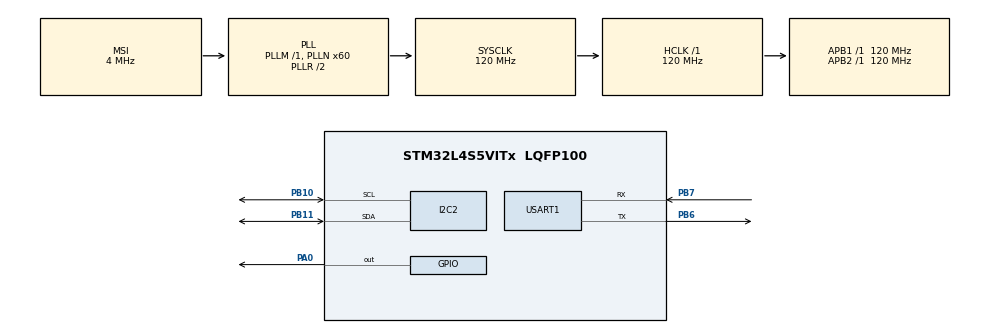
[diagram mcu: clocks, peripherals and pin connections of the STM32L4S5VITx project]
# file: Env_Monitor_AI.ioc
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I2C2.Timing=0x30A175AB
Mcu.Family=STM32L4
Mcu.Name=STM32L4S5VITx
Mcu.Package=LQFP100
NVIC.PriorityGroup=NVIC_PRIORITYGROUP_4
PA0.Signal=GPIO_Output
PB10.Mode=I2C
PB10.Signal=I2C2_SCL
PB11.Mode=I2C
PB11.Signal=I2C2_SDA
PB6.Mode=Asynchronous
PB6.Signal=USART1_TX
PB7.Mode=Asynchronous
PB7.Signal=USART1_RX
ProjectManager.HeapSize=0x200
ProjectManager.StackSize=0x400
ProjectManager.TargetToolchain=STM32CubeIDE
RCC.ADCFreq_Value=48000000
RCC.AHBFreq_Value=120000000
RCC.APB1Freq_Value=120000000
RCC.APB1TimFreq_Value=120000000
RCC.APB2Freq_Value=120000000
RCC.APB2TimFreq_Value=120000000
RCC.CortexFreq_Value=120000000
RCC.HCLKFreq_Value=120000000
RCC.HSE_VALUE=8000000
RCC.HSI48_VALUE=48000000
RCC.HSI_VALUE=16000000
RCC.LSE_VALUE=32768
RCC.MSI_VALUE=4000000
RCC.PLLN=60
RCC.PLLSAI1N=24
RCC.SYSCLKFreq_VALUE=120000000
RCC.SYSCLKSource=RCC_SYSCLKSOURCE_PLLCLK
RCC.USBFreq_Value=48000000
RCC.VCOOutputFreq_Value=240000000
USART1.VirtualMode-Asynchronous=VM_ASYNC
board=B-L4S5I-IOT01A

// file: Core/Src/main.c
/* USER CODE BEGIN Header */
/**
  ******************************************************************************
  * HTS221 + NanoEdge AI + 3-Pin Buzzer Module on PA0
  ******************************************************************************
  */
/* USER CODE END Header */

#include "main.h"

/* USER CODE BEGIN Includes */
#include "NanoEdgeAI.h"
#include <stdio.h>
#include <string.h>
#include <stdlib.h>
#include <stdbool.h>
/* USER CODE END Includes */

/* USER CODE BEGIN PD */
#define HTS221_ADDR            (0x5F << 1)
#define HTS221_WHO_AM_I        0x0F
#define HTS221_AV_CONF         0x10
#define HTS221_CTRL_REG1       0x20
#define HTS221_HUMIDITY_OUT_L  0x28
#define HTS221_TEMP_OUT_L      0x2A

#define LEARNING_ITERATIONS    24

#define BUZZER_PORT            GPIOA
#define BUZZER_PIN             GPIO_PIN_0
/* USER CODE END PD */

I2C_HandleTypeDef hi2c2;
UART_HandleTypeDef huart1;

void SystemClock_Config(void);
static void MX_GPIO_Init(void);
static void MX_USART1_UART_Init(void);
static void MX_I2C2_Init(void);

/* USER CODE BEGIN 0 */

static uint8_t HTS221_Read8(uint8_t reg)
{
  uint8_t val = 0;
  HAL_I2C_Mem_Read(&hi2c2, HTS221_ADDR, reg, I2C_MEMADD_SIZE_8BIT, &val, 1, 100);
  return val;
}

static int16_t HTS221_Read16(uint8_t reg_l)
{
  uint8_t data[2] = {0};
  HAL_I2C_Mem_Read(&hi2c2, HTS221_ADDR, reg_l | 0x80, I2C_MEMADD_SIZE_8BIT, data, 2, 100);
  return (int16_t)((data[1] << 8) | data[0]);
}

static void UART_Print(char *msg)
{
  HAL_UART_Transmit(&huart1, (uint8_t*)msg, strlen(msg), 100);
}

/* -------- 3-pin buzzer control --------
   For most 3-pin buzzer modules:
   HIGH  = buzzer ON
   LOW   = buzzer OFF
*/
static void Buzzer_On(void)
{
  HAL_GPIO_WritePin(BUZZER_PORT, BUZZER_PIN, GPIO_PIN_SET);
}

static void Buzzer_Off(void)
{
  HAL_GPIO_WritePin(BUZZER_PORT, BUZZER_PIN, GPIO_PIN_RESET);
}

/* Simple beep for 3-pin active buzzer module */
static void Buzzer_Beep(uint16_t on_ms, uint16_t off_ms, uint8_t repeat)
{
  for (uint8_t i = 0; i < repeat; i++)
  {
    Buzzer_On();
    HAL_Delay(on_ms);
    Buzzer_Off();
    HAL_Delay(off_ms);
  }
}

/* USER CODE END 0 */

int main(void)
{
  HAL_Init();
  SystemClock_Config();

  MX_GPIO_Init();
  MX_USART1_UART_Init();
  MX_I2C2_Init();

  char buffer[220];

  /* ---------- Startup message ---------- */
  sprintf(buffer, "System Booting...\r\n");
  UART_Print(buffer);

  /* Startup buzzer test */
  Buzzer_Beep(200, 150, 2);

  /* ---------- HTS221 setup ---------- */
  uint8_t who = HTS221_Read8(HTS221_WHO_AM_I);
  sprintf(buffer, "HTS221 WHO_AM_I: 0x%02X\r\n", who);
  UART_Print(buffer);

  uint8_t av_conf = 0x1B;
  HAL_I2C_Mem_Write(&hi2c2, HTS221_ADDR, HTS221_AV_CONF, I2C_MEMADD_SIZE_8BIT, &av_conf, 1, 100);

  uint8_t ctrl_reg1 = 0x85; /* PD=1, BDU=1, ODR=1Hz */
  HAL_I2C_Mem_Write(&hi2c2, HTS221_ADDR, HTS221_CTRL_REG1, I2C_MEMADD_SIZE_8BIT, &ctrl_reg1, 1, 100);

  HAL_Delay(100);

  /* ---------- Read HTS221 calibration ---------- */
  uint8_t H0_rH_x2       = HTS221_Read8(0x30);
  uint8_t H1_rH_x2       = HTS221_Read8(0x31);
  uint8_t T0_degC_x8_lsb = HTS221_Read8(0x32);
  uint8_t T1_degC_x8_lsb = HTS221_Read8(0x33);
  uint8_t T0_T1_msb      = HTS221_Read8(0x35);

  uint16_t T0_degC_x8 = ((uint16_t)(T0_T1_msb & 0x03) << 8) | T0_degC_x8_lsb;
  uint16_t T1_degC_x8 = ((uint16_t)((T0_T1_msb >> 2) & 0x03) << 8) | T1_degC_x8_lsb;

  int16_t H0_T0_OUT = HTS221_Read16(0x36);
  int16_t H1_T0_OUT = HTS221_Read16(0x3A);
  int16_t T0_OUT    = HTS221_Read16(0x3C);
  int16_t T1_OUT    = HTS221_Read16(0x3E);

  int32_t H0_x10 = (int32_t)H0_rH_x2 * 5;
  int32_t H1_x10 = (int32_t)H1_rH_x2 * 5;
  int32_t T0_x10 = ((int32_t)T0_degC_x8 * 10) / 8;
  int32_t T1_x10 = ((int32_t)T1_degC_x8 * 10) / 8;

  sprintf(buffer,
          "Monitoring Started\r\n"
          "H0=%ld.%ld%% H1=%ld.%ld%% T0=%ld.%ldC T1=%ld.%ldC\r\n",
          H0_x10 / 10, labs(H0_x10 % 10),
          H1_x10 / 10, labs(H1_x10 % 10),
          T0_x10 / 10, labs(T0_x10 % 10),
          T1_x10 / 10, labs(T1_x10 % 10));
  UART_Print(buffer);

  /* ---------- NanoEdge AI setup ---------- */
  enum neai_state neai_state;
  uint8_t similarity = 0;

  float input_signal[NEAI_INPUT_SIGNAL_LENGTH * NEAI_INPUT_AXIS_NUMBER];
  float temp_hist[NEAI_INPUT_SIGNAL_LENGTH];
  float hum_hist[NEAI_INPUT_SIGNAL_LENGTH];

  uint16_t sample_count = 0;
  uint16_t learning_count = 0;

  for (uint16_t i = 0; i < NEAI_INPUT_SIGNAL_LENGTH; i++)
  {
    temp_hist[i] = 0.0f;
    hum_hist[i]  = 0.0f;
  }

  neai_state = neai_anomalydetection_init(false);
  sprintf(buffer, "NEAI init state: %d\r\n", neai_state);
  UART_Print(buffer);

  while (1)
  {
    /* ---------- Read current sensor values ---------- */
    int16_t H_OUT = HTS221_Read16(HTS221_HUMIDITY_OUT_L);
    int16_t T_OUT = HTS221_Read16(HTS221_TEMP_OUT_L);

    int32_t humidity_x10 = 0;
    int32_t temp_x10 = 0;

    if (H1_T0_OUT != H0_T0_OUT)
    {
      humidity_x10 = ((int32_t)(H_OUT - H0_T0_OUT) * (H1_x10 - H0_x10)) /
                     (H1_T0_OUT - H0_T0_OUT) + H0_x10;
    }

    if (T1_OUT != T0_OUT)
    {
      temp_x10 = ((int32_t)(T_OUT - T0_OUT) * (T1_x10 - T0_x10)) /
                 (T1_OUT - T0_OUT) + T0_x10;
    }

    if (humidity_x10 < 0) humidity_x10 = 0;
    if (humidity_x10 > 1000) humidity_x10 = 1000;

    float temperature = (float)temp_x10 / 10.0f;
    float humidity    = (float)humidity_x10 / 10.0f;

    sprintf(buffer,
            "H_RAW:%d  T_RAW:%d  Temperature:%ld.%ld C  Humidity:%ld.%ld %%\r\n",
            H_OUT, T_OUT,
            temp_x10 / 10, labs(temp_x10 % 10),
            humidity_x10 / 10, labs(humidity_x10 % 10));
    UART_Print(buffer);

    /* ---------- Update rolling history ---------- */
    for (uint16_t i = 0; i < NEAI_INPUT_SIGNAL_LENGTH - 1; i++)
    {
      temp_hist[i] = temp_hist[i + 1];
      hum_hist[i]  = hum_hist[i + 1];
    }

    temp_hist[NEAI_INPUT_SIGNAL_LENGTH - 1] = temperature;
    hum_hist[NEAI_INPUT_SIGNAL_LENGTH - 1]  = humidity;

    /* ---------- Warm-up ---------- */
    if (sample_count < NEAI_INPUT_SIGNAL_LENGTH)
    {
      sample_count++;

      sprintf(buffer, "AI Warming Up: %u/%u\r\n",
              sample_count, NEAI_INPUT_SIGNAL_LENGTH);
      UART_Print(buffer);

      Buzzer_Off();
      HAL_Delay(1000);
      continue;
    }

    /* ---------- Create NanoEdge input buffer ---------- */
    for (uint16_t i = 0; i < NEAI_INPUT_SIGNAL_LENGTH; i++)
    {
      input_signal[(i * NEAI_INPUT_AXIS_NUMBER) + 0] = temp_hist[i];
      input_signal[(i * NEAI_INPUT_AXIS_NUMBER) + 1] = hum_hist[i];
    }

    /* ---------- Learning phase ---------- */
    if (learning_count < LEARNING_ITERATIONS)
    {
      neai_state = neai_anomalydetection_learn(input_signal);
      learning_count++;

      sprintf(buffer, "AI Learning: %u/%u  state=%d\r\n",
              learning_count, LEARNING_ITERATIONS, neai_state);
      UART_Print(buffer);

      Buzzer_Off();
    }
    /* ---------- Detection phase ---------- */
    else
    {
      neai_state = neai_anomalydetection_detect(input_signal, &similarity);

      if (neai_state == NEAI_OK)
      {
        if (similarity >= 90)
        {
          sprintf(buffer, "AI Similarity: %u  AI Status: NORMAL\r\n", similarity);
          UART_Print(buffer);
          Buzzer_Off();
        }
        else
        {
          sprintf(buffer, "AI Similarity: %u  AI Status: ANOMALY DETECTED\r\n", similarity);
          UART_Print(buffer);

          /* Buzzer sounds when anomaly is detected */
          Buzzer_Beep(400, 200, 3);

          HAL_Delay(300);
          continue;
        }
      }
      else
      {
        sprintf(buffer, "AI detect state error: %d\r\n", neai_state);
        UART_Print(buffer);
        Buzzer_Off();
      }
    }

    HAL_Delay(1000);
  }
}

void SystemClock_Config(void)
{
  RCC_OscInitTypeDef RCC_OscInitStruct = {0};
  RCC_ClkInitTypeDef RCC_ClkInitStruct = {0};

  if (HAL_PWREx_ControlVoltageScaling(PWR_REGULATOR_VOLTAGE_SCALE1_BOOST) != HAL_OK)
  {
    Error_Handler();
  }

  RCC_OscInitStruct.OscillatorType = RCC_OSCILLATORTYPE_MSI;
  RCC_OscInitStruct.MSIState = RCC_MSI_ON;
  RCC_OscInitStruct.MSICalibrationValue = 0;
  RCC_OscInitStruct.MSIClockRange = RCC_MSIRANGE_6;
  RCC_OscInitStruct.PLL.PLLState = RCC_PLL_ON;
  RCC_OscInitStruct.PLL.PLLSource = RCC_PLLSOURCE_MSI;
  RCC_OscInitStruct.PLL.PLLM = 1;
  RCC_OscInitStruct.PLL.PLLN = 60;
  RCC_OscInitStruct.PLL.PLLP = RCC_PLLP_DIV2;
  RCC_OscInitStruct.PLL.PLLQ = RCC_PLLQ_DIV2;
  RCC_OscInitStruct.PLL.PLLR = RCC_PLLR_DIV2;
  if (HAL_RCC_OscConfig(&RCC_OscInitStruct) != HAL_OK)
  {
    Error_Handler();
  }

  RCC_ClkInitStruct.ClockType = RCC_CLOCKTYPE_HCLK | RCC_CLOCKTYPE_SYSCLK
                              | RCC_CLOCKTYPE_PCLK1 | RCC_CLOCKTYPE_PCLK2;
  RCC_ClkInitStruct.SYSCLKSource = RCC_SYSCLKSOURCE_PLLCLK;
  RCC_ClkInitStruct.AHBCLKDivider = RCC_SYSCLK_DIV1;
  RCC_ClkInitStruct.APB1CLKDivider = RCC_HCLK_DIV1;
  RCC_ClkInitStruct.APB2CLKDivider = RCC_HCLK_DIV1;

  if (HAL_RCC_ClockConfig(&RCC_ClkInitStruct, FLASH_LATENCY_5) != HAL_OK)
  {
    Error_Handler();
  }
}

static void MX_I2C2_Init(void)
{
  hi2c2.Instance = I2C2;
  hi2c2.Init.Timing = 0x30A175AB;
  hi2c2.Init.OwnAddress1 = 0;
  hi2c2.Init.AddressingMode = I2C_ADDRESSINGMODE_7BIT;
  hi2c2.Init.DualAddressMode = I2C_DUALADDRESS_DISABLE;
  hi2c2.Init.OwnAddress2 = 0;
  hi2c2.Init.OwnAddress2Masks = I2C_OA2_NOMASK;
  hi2c2.Init.GeneralCallMode = I2C_GENERALCALL_DISABLE;
  hi2c2.Init.NoStretchMode = I2C_NOSTRETCH_DISABLE;
  if (HAL_I2C_Init(&hi2c2) != HAL_OK)
  {
    Error_Handler();
  }

  if (HAL_I2CEx_ConfigAnalogFilter(&hi2c2, I2C_ANALOGFILTER_ENABLE) != HAL_OK)
  {
    Error_Handler();
  }

  if (HAL_I2CEx_ConfigDigitalFilter(&hi2c2, 0) != HAL_OK)
  {
    Error_Handler();
  }
}

static void MX_USART1_UART_Init(void)
{
  huart1.Instance = USART1;
  huart1.Init.BaudRate = 115200;
  huart1.Init.WordLength = UART_WORDLENGTH_8B;
  huart1.Init.StopBits = UART_STOPBITS_1;
  huart1.Init.Parity = UART_PARITY_NONE;
  huart1.Init.Mode = UART_MODE_TX_RX;
  huart1.Init.HwFlowCtl = UART_HWCONTROL_NONE;
  huart1.Init.OverSampling = UART_OVERSAMPLING_16;
  huart1.Init.OneBitSampling = UART_ONE_BIT_SAMPLE_DISABLE;
  huart1.Init.ClockPrescaler = UART_PRESCALER_DIV1;
  huart1.AdvancedInit.AdvFeatureInit = UART_ADVFEATURE_NO_INIT;
  if (HAL_UART_Init(&huart1) != HAL_OK)
  {
    Error_Handler();
  }
  if (HAL_UARTEx_SetTxFifoThreshold(&huart1, UART_TXFIFO_THRESHOLD_1_8) != HAL_OK)
  {
    Error_Handler();
  }
  if (HAL_UARTEx_SetRxFifoThreshold(&huart1, UART_RXFIFO_THRESHOLD_1_8) != HAL_OK)
  {
    Error_Handler();
  }
  if (HAL_UARTEx_DisableFifoMode(&huart1) != HAL_OK)
  {
    Error_Handler();
  }
}

static void MX_GPIO_Init(void)
{
  GPIO_InitTypeDef GPIO_InitStruct = {0};

  __HAL_RCC_GPIOA_CLK_ENABLE();
  __HAL_RCC_GPIOB_CLK_ENABLE();

  HAL_GPIO_WritePin(GPIOA, GPIO_PIN_0, GPIO_PIN_RESET);

  GPIO_InitStruct.Pin = GPIO_PIN_0;
  GPIO_InitStruct.Mode = GPIO_MODE_OUTPUT_PP;
  GPIO_InitStruct.Pull = GPIO_NOPULL;
  GPIO_InitStruct.Speed = GPIO_SPEED_FREQ_LOW;
  HAL_GPIO_Init(GPIOA, &GPIO_InitStruct);
}

void Error_Handler(void)
{
  __disable_irq();
  while (1)
  {
  }
}
